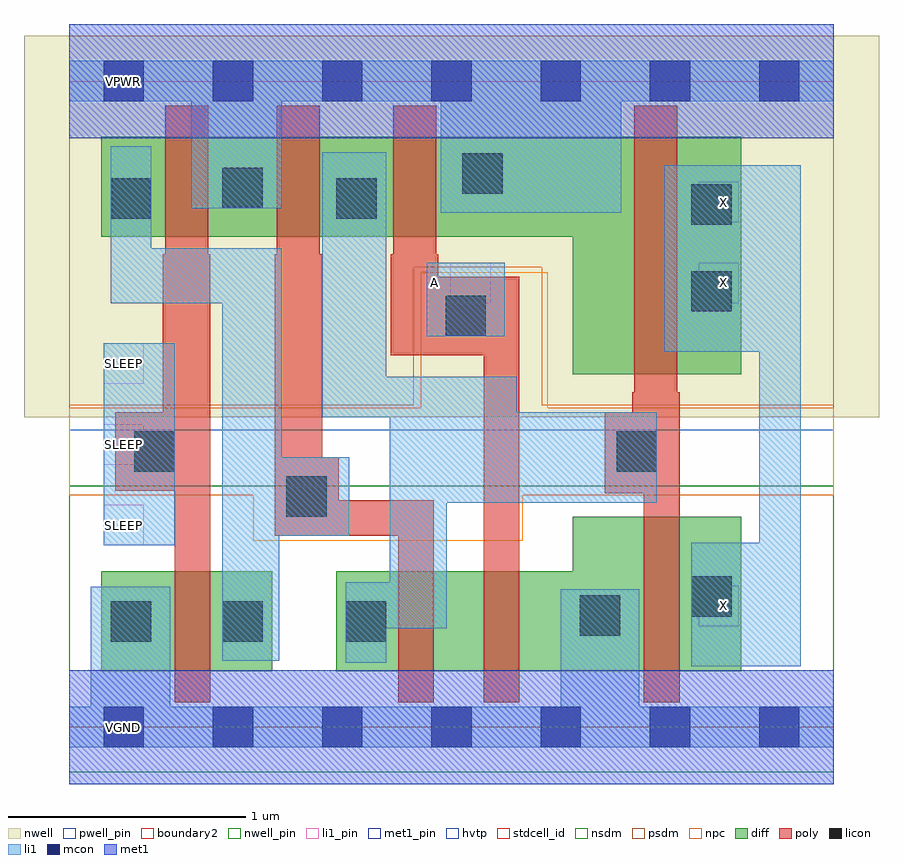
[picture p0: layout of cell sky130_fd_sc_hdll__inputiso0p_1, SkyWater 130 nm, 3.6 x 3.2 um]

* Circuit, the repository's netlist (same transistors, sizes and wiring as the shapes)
* Copyright 2020 The SkyWater PDK Authors
*
* Licensed under the Apache License, Version 2.0 (the "License");
* you may not use this file except in compliance with the License.
* You may obtain a copy of the License at
*
*     https://www.apache.org/licenses/LICENSE-2.0
*
* Unless required by applicable law or agreed to in writing, software
* distributed under the License is distributed on an "AS IS" BASIS,
* WITHOUT WARRANTIES OR CONDITIONS OF ANY KIND, either express or implied.
* See the License for the specific language governing permissions and
* limitations under the License.
*
* SPDX-License-Identifier: Apache-2.0

.SUBCKT sky130_fd_sc_hdll__inputiso0p_1 A SLEEP VGND VNB VPB VPWR X
*.PININFO A:I SLEEP:I VGND:I VNB:I VPB:I VPWR:I X:O
MI8 net36 A VPWR VPB sky130_fd_pr__pfet_01v8_hvt m=1 w=0.42U l=0.18U mult=1 sa=0.265
+ sb=0.265 sd=0.28 area=0.063 perim=1.14
MI7 net36 sleepb VPWR VPB sky130_fd_pr__pfet_01v8_hvt m=1 w=0.42U l=0.18U mult=1
+ sa=0.265 sb=0.265 sd=0.28 area=0.063 perim=1.14
MI20 X net36 VPWR VPB sky130_fd_pr__pfet_01v8_hvt m=1 w=1.0U l=0.18U mult=1 sa=0.265
+ sb=0.265 sd=0.28 area=0.063 perim=1.14
MI19 sleepb SLEEP VPWR VPB sky130_fd_pr__pfet_01v8_hvt m=1 w=0.42U l=0.18U mult=1
+ sa=0.265 sb=0.265 sd=0.28 area=0.063 perim=1.14
MI10 net36 sleepb sndA VNB sky130_fd_pr__nfet_01v8 m=1 w=0.42U l=0.15U mult=1 sa=0.265
+ sb=0.265 sd=0.28 area=0.063 perim=1.14
MI21 X net36 VGND VNB sky130_fd_pr__nfet_01v8 m=1 w=0.65U l=0.15U mult=1 sa=0.265
+ sb=0.265 sd=0.28 area=0.063 perim=1.14
MI18 sleepb SLEEP VGND VNB sky130_fd_pr__nfet_01v8 m=1 w=0.42U l=0.15U mult=1 sa=0.265
+ sb=0.265 sd=0.28 area=0.063 perim=1.14
MI11 sndA A VGND VNB sky130_fd_pr__nfet_01v8 m=1 w=0.42U l=0.15U mult=1 sa=0.265
+ sb=0.265 sd=0.28 area=0.063 perim=1.14
.ENDS sky130_fd_sc_hdll__inputiso0p_1

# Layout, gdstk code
import gdstk
lib = gdstk.Library(unit=1e-6, precision=1e-09)
def R(c, l, rs):  # rectangles x0, y0, x1, y1
    for r in rs: c.add(gdstk.rectangle(r[:2], r[2:], *l))
def A(c, l, x, y, w, h, nx, ny, dx, dy):  # array of equal rectangles
    R(c, l, [(x+i*dx, y+j*dy, x+i*dx+w, y+j*dy+h) for i in range(nx) for j in range(ny)])
def P(c, l, *ps):  # polygons
    for p in ps: c.add(gdstk.Polygon(p, *l))
nwell_pin = (64, 16)
nwell = (64, 20)
diff = (65, 20)
poly = (66, 20)
licon = (66, 44)
li1_pin = (67, 16)
li1 = (67, 20)
mcon = (67, 44)
met1_pin = (68, 16)
met1 = (68, 20)
hvtp = (78, 44)
stdcell_id = (81, 4)
nsdm = (93, 44)
psdm = (94, 20)
npc = (95, 20)
pwell_pin = (122, 16)
boundary2 = (236, 0)

sky130_fd_sc_hdll__input = lib.new_cell('sky130_fd_sc_hdll__inputiso0p_1')
R(sky130_fd_sc_hdll__input, nwell_pin, [(0.145,2.635,0.315,2.805)])
R(sky130_fd_sc_hdll__input, nwell, [(-0.19,1.305,3.41,2.91)])
R(sky130_fd_sc_hdll__input, diff, [(0.135,0.235,0.855,0.655)])
P(sky130_fd_sc_hdll__input, diff, [(2.83,0.885),(2.12,0.885),(2.12,0.655),(1.125,0.655),(1.125,0.235),(2.83,0.235)],
  [(2.83,2.485),(0.135,2.485),(0.135,2.065),(2.12,2.065),(2.12,1.485),(2.83,1.485)])
P(sky130_fd_sc_hdll__input, poly, [(0.595,1.99),(0.585,1.99),(0.585,2.615),(0.405,2.615),(0.405,1.99),(0.395,1.99),(0.395,1.325),(0.195,1.325),(0.195,0.995),(0.445,0.995),(0.445,0.105),(0.595,0.105)],
  [(1.535,0.955),(1.135,0.955),(1.135,1.135),(1.065,1.135),(1.065,1.99),(1.055,1.99),(1.055,2.615),(0.875,2.615),(0.875,1.99),(0.865,1.99),(0.865,0.805),(1.385,0.805),(1.385,0.105),(1.535,0.105)],
  [(1.895,1.895),(1.555,1.895),(1.555,1.99),(1.545,1.99),(1.545,2.615),(1.365,2.615),(1.365,1.99),(1.355,1.99),(1.355,1.565),(1.745,1.565),(1.745,0.105),(1.895,0.105)],
  [(2.57,1.41),(2.56,1.41),(2.56,2.615),(2.38,2.615),(2.38,1.41),(2.37,1.41),(2.37,1.325),(2.255,1.325),(2.255,0.985),(2.42,0.985),(2.42,0.105),(2.57,0.105)])
R(sky130_fd_sc_hdll__input, licon, [(0.175,0.36,0.345,0.53), (0.645,0.36,0.815,0.53), (1.165,0.36,1.335,0.53), (2.15,0.385,2.32,0.555), (2.62,0.465,2.79,0.635), (0.915,0.885,1.085,1.055), (0.275,1.075,0.445,1.245), (2.305,1.075,2.475,1.245), (1.585,1.645,1.755,1.815), (2.62,1.75,2.79,1.92), (2.62,2.115,2.79,2.285), (0.175,2.14,0.345,2.31), (1.125,2.14,1.295,2.31), (0.645,2.185,0.815,2.355), (1.655,2.245,1.825,2.415)])
A(sky130_fd_sc_hdll__input, li1_pin, 0.145, 0.765, 0.17, 0.17, 1, 3, 0, 0.34)
R(sky130_fd_sc_hdll__input, li1_pin, [(2.65,0.425,2.82,0.595), (1.605,1.785,1.775,1.955), (2.65,1.785,2.82,1.955), (2.65,2.125,2.82,2.295)])
R(sky130_fd_sc_hdll__input, li1, [(0.145,0.765,0.445,1.615), (1.505,1.645,1.835,1.955)])
P(sky130_fd_sc_hdll__input, li1, [(3.08,2.365),(2.505,2.365),(2.505,1.58),(2.905,1.58),(2.905,0.775),(2.62,0.775),(2.62,0.255),(3.08,0.255)],
  [(3.22,2.805),(0,2.805),(0,2.635),(0.515,2.635),(0.515,2.185),(0.895,2.185),(0.895,2.635),(1.565,2.635),(1.565,2.165),(2.325,2.165),(2.325,2.635),(3.22,2.635)],
  [(2.475,1.325),(1.885,1.325),(1.885,1.475),(1.335,1.475),(1.335,2.42),(1.065,2.42),(1.065,1.305),(1.35,1.305),(1.35,0.61),(1.165,0.61),(1.165,0.27),(1.335,0.27),(1.335,0.415),(1.59,0.415),(1.59,0.945),(2.475,0.945)],
  [(1.18,1.135),(0.895,1.135),(0.895,2.015),(0.345,2.015),(0.345,2.445),(0.175,2.445),(0.175,1.785),(0.645,1.785),(0.645,0.28),(0.885,0.28),(0.885,0.805),(1.18,0.805)],
  [(3.22,0.085),(2.4,0.085),(2.4,0.58),(2.07,0.58),(2.07,0.085),(0.425,0.085),(0.425,0.59),(0.09,0.59),(0.09,0.085),(0,0.085),(0,-0.085),(3.22,-0.085)])
A(sky130_fd_sc_hdll__input, mcon, 0.145, -0.085, 0.17, 0.17, 7, 2, 0.46, 2.72)
R(sky130_fd_sc_hdll__input, met1_pin, [(0.145,-0.085,0.315,0.085), (0.145,2.635,0.315,2.805)])
R(sky130_fd_sc_hdll__input, met1, [(0,-0.24,3.22,0.24), (0,2.48,3.22,2.96)])
R(sky130_fd_sc_hdll__input, hvtp, [(0,1.25,3.22,2.72)])
R(sky130_fd_sc_hdll__input, stdcell_id, [(0,0,3.22,2.72)])
R(sky130_fd_sc_hdll__input, nsdm, [(0,-0.19,3.22,1.015)])
P(sky130_fd_sc_hdll__input, psdm, [(3.22,2.91),(0,2.91),(0,1.355),(1.45,1.355),(1.45,1.935),(1.99,1.935),(1.99,1.355),(3.22,1.355)])
P(sky130_fd_sc_hdll__input, npc, [(3.22,1.345),(2.015,1.345),(2.015,1.915),(1.48,1.915),(1.48,1.345),(0,1.345),(0,0.975),(0.775,0.975),(0.775,0.785),(1.91,0.785),(1.91,0.975),(3.22,0.975)])
R(sky130_fd_sc_hdll__input, pwell_pin, [(0.145,-0.085,0.315,0.085)])
R(sky130_fd_sc_hdll__input, boundary2, [(0,0,3.22,2.72)])
sky130_fd_sc_hdll__input.add(gdstk.Label('X', (2.755,1.87), layer=67, texttype=5))
sky130_fd_sc_hdll__input.add(gdstk.Label('SLEEP', (0.23,1.53), layer=67, texttype=5))
sky130_fd_sc_hdll__input.add(gdstk.Label('SLEEP', (0.23,0.85), layer=67, texttype=5))
sky130_fd_sc_hdll__input.add(gdstk.Label('A', (1.54,1.87), layer=67, texttype=5))
sky130_fd_sc_hdll__input.add(gdstk.Label('X', (2.755,0.51), layer=67, texttype=5))
sky130_fd_sc_hdll__input.add(gdstk.Label('SLEEP', (0.23,1.19), layer=67, texttype=5))
sky130_fd_sc_hdll__input.add(gdstk.Label('X', (2.755,2.21), layer=67, texttype=5))
sky130_fd_sc_hdll__input.add(gdstk.Label('VGND', (0.23,0), layer=68, texttype=5))
sky130_fd_sc_hdll__input.add(gdstk.Label('VPWR', (0.23,2.72), layer=68, texttype=5))
sky130_fd_sc_hdll__input.add(gdstk.Label('VPB', (0.23,2.72), layer=64, texttype=5))
sky130_fd_sc_hdll__input.add(gdstk.Label('VNB', (0.23,0), layer=64, texttype=59))
sky130_fd_sc_hdll__input.add(gdstk.Label('sky130_fd_sc_hdll__lpflow_inputiso0p_1', (0,0), layer=83, texttype=44))

lib.write_gds('sky130_fd_sc_hdll__inputiso0p_1.gds')
